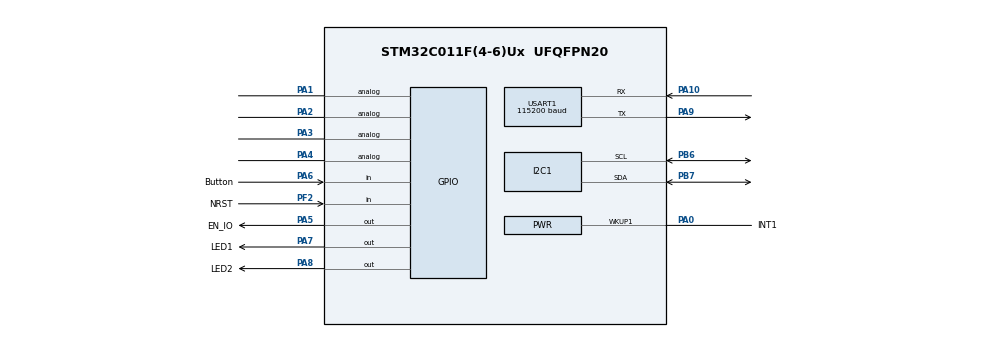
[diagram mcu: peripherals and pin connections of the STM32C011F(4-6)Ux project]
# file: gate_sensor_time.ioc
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I2C1.Speed=50
I2C1.Timing=0x0010092C
Mcu.Family=STM32C0
Mcu.Name=STM32C011F(4-6)Ux
Mcu.Package=UFQFPN20
NVIC.TIM14_IRQn=true\:0\:0\:false\:false\:true\:true\:true\:true
PA0.GPIO_Label=INT1
PA0.Mode=WakeUp1
PA0.Signal=PWR_WKUP1
PA1.Signal=GPIO_Analog
PA10\ [PA12].Mode=Asynchronous
PA10\ [PA12].Signal=USART1_RX
PA13.Mode=Serial_Wire
PA13.Signal=DEBUG_SWDIO
PA14-BOOT0.Mode=Serial_Wire
PA14-BOOT0.Signal=DEBUG_SWCLK
PA2.Signal=GPIO_Analog
PA3.Signal=GPIO_Analog
PA4.Signal=GPIO_Analog
PA5.GPIO_Label=EN_IO
PA5.Signal=GPIO_Output
PA6.GPIO_Label=Button
PA6.GPIO_PuPd=GPIO_PULLUP
PA6.Signal=GPIO_Input
PA7.GPIO_Label=LED1
PA7.Signal=GPIO_Output
PA8.GPIO_Label=LED2
PA8.Signal=GPIO_Output
PA9\ [PA11].Mode=Asynchronous
PA9\ [PA11].Signal=USART1_TX
PB6.GPIO_Pu=GPIO_PULLUP
PB6.Mode=I2C
PB6.Signal=I2C1_SCL
PB7.GPIO_Pu=GPIO_PULLUP
PB7.Mode=I2C
PB7.Signal=I2C1_SDA
PC14-OSCX_IN\ (PC14).Signal=RCC_OSCX_IN
PC15-OSCX_OUT\ (PC15).Signal=RCC_OSCX_OUT
PF2-NRST.GPIO_Label=NRST
PF2-NRST.Signal=GPIO_Input
ProjectManager.HeapSize=0x200
ProjectManager.StackSize=0x400
ProjectManager.TargetToolchain=STM32CubeIDE
RCC.ADCFreq_Value=3000000
RCC.AHBFreq_Value=3000000
RCC.CortexFreq_Value=3000000
RCC.EXTERNAL_CLOCK_VALUE=12288000
RCC.HCLKFreq_Value=3000000
RCC.HSE_VALUE=8000000
RCC.HSISYSCLKDivider=RCC_HSI_DIV16
RCC.HSI_VALUE=48000000
RCC.LSE_VALUE=32768
RCC.SYSCLKFreq_VALUE=3000000
TIM14.Period=399
TIM14.Prescaler=299
USART1.BaudRate=115200
USART1.OverSampling=UART_OVERSAMPLING_16
USART1.SwapParam=ADVFEATURE_SWAP_DISABLE
USART1.VirtualMode-Asynchronous=VM_ASYNC
VP_SYS_VS_PINREMAP.Mode=PINREMAP
VP_SYS_VS_PINREMAP_10_12.Mode=PINREMAP_10_12
VP_TIM14_VS_ClockSourceINT.Mode=Enable_Timer
board=custom

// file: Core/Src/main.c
/* USER CODE BEGIN Header */
/**
  ******************************************************************************
  * @file           : main.c
  * @brief          : Main program body
  ******************************************************************************
  * @attention
  *
  * Copyright (c) 2025 STMicroelectronics.
  * All rights reserved.
  *
  * This software is licensed under terms that can be found in the LICENSE file
  * in the root directory of this software component.
  * If no LICENSE file comes with this software, it is provided AS-IS.
  *
  ******************************************************************************
  */
/* USER CODE END Header */
#include "main.h"
#include "i2c.h"
#include "tim.h"
#include "usart.h"
#include "gpio.h"

/* USER CODE BEGIN Includes */
#include "stdbool.h"
#include "bma400.h"
#include "math.h"
#include <stdio.h>
#include <string.h>
/* USER CODE END Includes */

/* USER CODE BEGIN PV */
uint32_t time = 0;
struct bma400_dev bma400;
/* USER CODE END PV */

void SystemClock_Config(void);

/* USER CODE BEGIN 0 */
void enterStandby(void)
{
	__HAL_PWR_CLEAR_FLAG(PWR_FLAG_WUF);
  	HAL_PWR_EnableWakeUpPin(PWR_WAKEUP_PIN1);
    HAL_PWR_EnterSTANDBYMode();
}

void configureBMA400(struct bma400_dev *dev)
{
    uint8_t rslt;
    struct bma400_device_conf dev_conf[3];
    struct bma400_sensor_conf sensor_conf;

    // Set initial power mode to low power
    rslt = bma400_set_power_mode(BMA400_MODE_NORMAL, dev);
    if (rslt != BMA400_OK)
    {
        Error_Handler();
    }

    // auto low power after movement stops (1 s)
    dev_conf[0].type = BMA400_AUTO_LOW_POWER;
    dev_conf[0].param.auto_lp.auto_low_power_trigger =
        BMA400_AUTO_LP_GEN1_TRIGGER | BMA400_AUTO_LP_TIMEOUT_EN | BMA400_AUTO_LP_TIME_RESET_EN;
    dev_conf[0].param.auto_lp.auto_lp_timeout_threshold = 400; // 400 × 2.5 ms = 1 s

    // wake-up interrupt on motion detection on Y axis
    dev_conf[1].type = BMA400_AUTOWAKEUP_INT;
    dev_conf[1].param.wakeup.wakeup_ref_update = BMA400_UPDATE_ONE_TIME;
    dev_conf[1].param.wakeup.sample_count = BMA400_SAMPLE_COUNT_2;
    dev_conf[1].param.wakeup.wakeup_axes_en = BMA400_AXIS_XYZ_EN;
    dev_conf[1].param.wakeup.int_wkup_threshold = 1;	// mg threshold
    dev_conf[1].param.wakeup.int_wkup_ref_z = 0;
    dev_conf[1].param.wakeup.int_chan = BMA400_INT_CHANNEL_1;

    dev_conf[2].type = BMA400_INT_PIN_CONF;
    dev_conf[2].param.int_conf.int_chan = BMA400_INT_CHANNEL_1;
    dev_conf[2].param.int_conf.pin_conf = BMA400_INT_OPEN_DRAIN_ACTIVE_0;

    rslt = bma400_set_device_conf(dev_conf, 3, dev);
    if (rslt != BMA400_OK)
    {
        Error_Handler();
    }

    // configure accelerometer
    sensor_conf.type = BMA400_ACCEL;
    sensor_conf.param.accel.odr = BMA400_ODR_800HZ;
    sensor_conf.param.accel.range = BMA400_RANGE_2G;
    sensor_conf.param.accel.data_src = BMA400_DATA_SRC_ACCEL_FILT_2;
    sensor_conf.param.accel.osr = BMA400_ACCEL_OSR_SETTING_3;

    rslt = bma400_set_sensor_conf(&sensor_conf, 1, dev);
    if (rslt != BMA400_OK) Error_Handler();

    // enable auto wakeup
    rslt = set_auto_wakeup(BMA400_ENABLE, dev);
    if (rslt != BMA400_OK)
    {
        Error_Handler();
    }
}
/* USER CODE END 0 */

int main(void)
{

  /* USER CODE BEGIN 1 */
	bma400.intf = BMA400_I2C_INTF;
	bma400.intf_ptr = &hi2c1;
	bma400.read = user_i2c_read;
	bma400.write = user_i2c_write;
	bma400.delay_us = user_delay_us;
  /* USER CODE END 1 */

  /* MCU Configuration--------------------------------------------------------*/

  /* Reset of all peripherals, Initializes the Flash interface and the Systick. */
  HAL_Init();

  /* Configure the system clock */
  SystemClock_Config();

  /* Initialize all configured peripherals */
  MX_GPIO_Init();
  MX_I2C1_Init();
  MX_USART1_UART_Init();
  MX_TIM14_Init();
  /* USER CODE BEGIN 2 */
  //__HAL_PWR_CLEAR_FLAG(PWR_FLAG_SB); // dbg - check power mode state
  bma400_init(&bma400);
  configureBMA400(&bma400);
  HAL_GPIO_WritePin(EN_IO_GPIO_Port, EN_IO_Pin, SET);
  HAL_Delay(200);
  HAL_TIM_Base_Start_IT(&htim14);
  /* USER CODE END 2 */

  /* Infinite loop */
  while (1)
  {

  }
}

void SystemClock_Config(void)
{
  RCC_OscInitTypeDef RCC_OscInitStruct = {0};
  RCC_ClkInitTypeDef RCC_ClkInitStruct = {0};

  __HAL_FLASH_SET_LATENCY(FLASH_LATENCY_0);

  /** Initializes the RCC Oscillators according to the specified parameters
  * in the RCC_OscInitTypeDef structure.
  */
  RCC_OscInitStruct.OscillatorType = RCC_OSCILLATORTYPE_HSI;
  RCC_OscInitStruct.HSIState = RCC_HSI_ON;
  RCC_OscInitStruct.HSIDiv = RCC_HSI_DIV4;
  RCC_OscInitStruct.HSICalibrationValue = RCC_HSICALIBRATION_DEFAULT;
  if (HAL_RCC_OscConfig(&RCC_OscInitStruct) != HAL_OK)
  {
    Error_Handler();
  }

  /** Initializes the CPU, AHB and APB buses clocks
  */
  RCC_ClkInitStruct.ClockType = RCC_CLOCKTYPE_HCLK|RCC_CLOCKTYPE_SYSCLK
                              |RCC_CLOCKTYPE_PCLK1;
  RCC_ClkInitStruct.SYSCLKSource = RCC_SYSCLKSOURCE_HSI;
  RCC_ClkInitStruct.SYSCLKDivider = RCC_SYSCLK_DIV1;
  RCC_ClkInitStruct.AHBCLKDivider = RCC_HCLK_DIV1;
  RCC_ClkInitStruct.APB1CLKDivider = RCC_APB1_DIV1;

  if (HAL_RCC_ClockConfig(&RCC_ClkInitStruct, FLASH_LATENCY_0) != HAL_OK)
  {
    Error_Handler();
  }
}

/* USER CODE BEGIN 4 */
void HAL_TIM_PeriodElapsedCallback(TIM_HandleTypeDef *htim)
{
	if (htim->Instance == TIM14)
	{
		  struct bma400_sensor_data data;	// structure for storing data
		  bma400_get_accel_data(BMA400_DATA_ONLY, &data, &bma400);

		  char msg[40];
		  snprintf(msg, sizeof(msg), "%d\n", data.y);

		  HAL_UART_Transmit(&huart1, (uint8_t*)msg, strlen(msg), HAL_MAX_DELAY);
		  time += 1;

		  if (time >= 12000)
		  {
			  HAL_TIM_Base_Stop_IT(&htim14);
		  }
	}
}
/* USER CODE END 4 */

void Error_Handler(void)
{
  /* USER CODE BEGIN Error_Handler_Debug */
  /* User can add his own implementation to report the HAL error return state */
  HAL_GPIO_WritePin(LED2_GPIO_Port, LED2_Pin, SET);
  while (1)
  {

  }
  /* USER CODE END Error_Handler_Debug */
}
